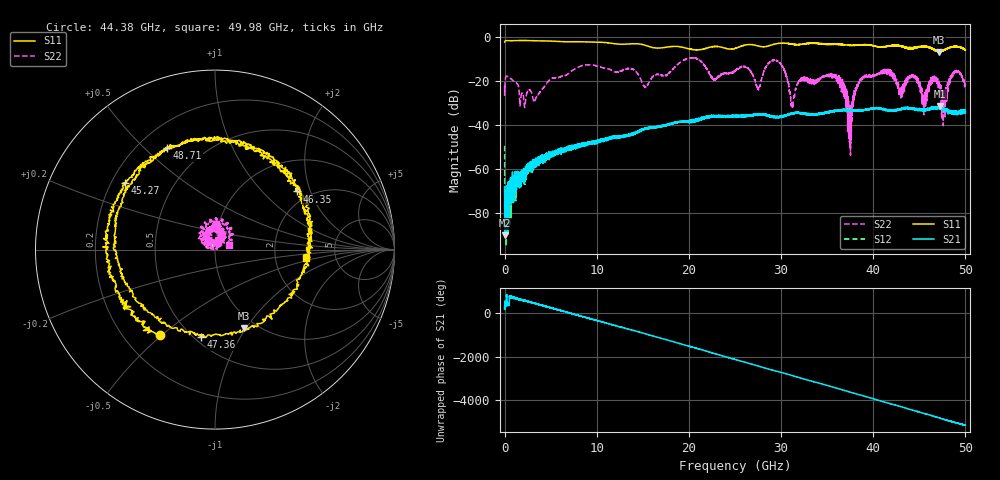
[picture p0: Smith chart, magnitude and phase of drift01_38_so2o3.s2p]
!Created with skrf (http://scikit-rf.org).
# Hz S RI R 50.0
!freq ReS11 ImS11 ReS21 ImS21 ReS12 ImS12 ReS22 ImS22
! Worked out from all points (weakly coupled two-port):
!   10001 points, 300 kHz to 50 GHz, reference 50 ohm
!   highest |S21| = -31.24 dB at 47.21 GHz (marker M1); lowest = -90.4 dB at 60.3 MHz (marker M2)
!   lowest |S11| = -6.6 dB at 47.15 GHz (marker M3), VSWR 2.76, Z = 43.8 - j49.1 ohm
!   |S11| at or under -10 dB: nowhere
!   |S22| runs from -53.8 to -9.2 dB; largest |S21 - S12| = 0.0039
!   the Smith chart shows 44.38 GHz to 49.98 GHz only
!   S11 on the Smith chart (normalised r, x): 44.38 GHz: 0.35, -0.49; 45.27 GHz: 0.26, +0.31; 46.35 GHz: 1.72, +1.62; 47.36 GHz: 0.54, -0.70; 48.71 GHz: 0.32, +0.59; 49.98 GHz: 3.04, -0.38
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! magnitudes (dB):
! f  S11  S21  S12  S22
! 300 kHz  -2.1  -68.1  -49.5  -22.3
! 60.3 MHz  -1.6  -90.4  -70.6  -19.7
! 3.29 GHz  -1.5  -57.7  -58.3  -28.9
! 8.335 GHz  -1.9  -48.8  -49.0  -12.9
! 16.67 GHz  -4.9  -40.7  -40.9  -16.7
! 25 GHz  -5.0  -35.9  -36.0  -15.5
! 29.58 GHz  -2.8  -35.9  -36.5  -10.6
! 31.23 GHz  -3.1  -34.8  -34.5  -31.0
! 33.34 GHz  -2.6  -35.3  -35.1  -20.0
! 36.08 GHz  -3.1  -33.3  -33.4  -18.5
! 37.47 GHz  -3.6  -33.0  -33.0  -33.5
! 38.66 GHz  -3.4  -33.3  -33.3  -20.0
! 41.67 GHz  -3.9  -33.1  -33.3  -16.0
! 44.38 GHz  -5.0  -32.5  -32.6  -17.2
! 45.27 GHz  -4.1  -33.0  -32.8  -24.7
! 46.35 GHz  -5.0  -32.5  -32.4  -20.4
! 47.15 GHz  -6.6  -32.2  -32.1  -20.4
! 47.21 GHz  -6.3  -31.2  -32.0  -23.9
! 47.36 GHz  -6.1  -32.4  -32.2  -24.9
! 48.71 GHz  -4.1  -34.3  -34.4  -15.8
! 49.98 GHz  -5.8  -33.1  -33.6  -21.4
! 50 GHz  -5.7  -34.0  -33.9  -21.5
